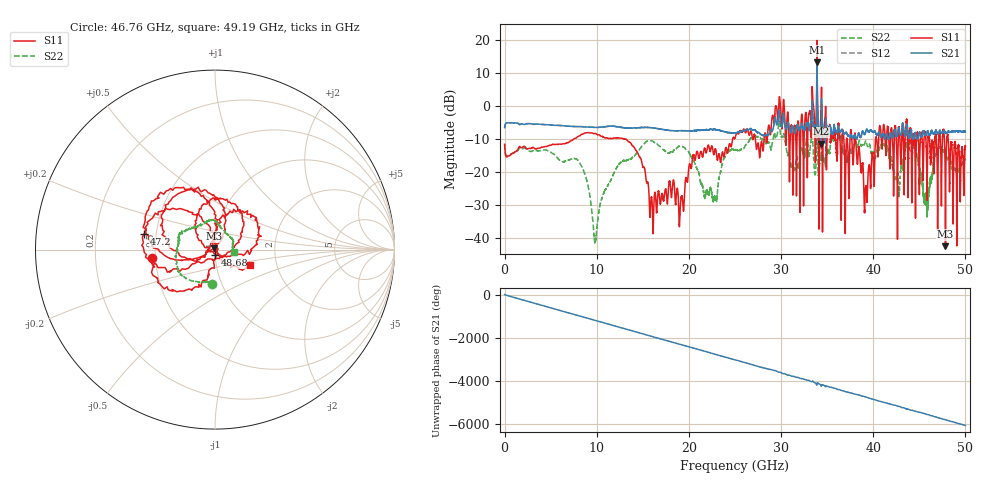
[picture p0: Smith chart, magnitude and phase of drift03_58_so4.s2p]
!Created with skrf (http://scikit-rf.org).
# Hz S RI R 50.0
!freq ReS11 ImS11 ReS21 ImS21 ReS12 ImS12 ReS22 ImS22
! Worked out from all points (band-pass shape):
!   10001 points, 300 kHz to 50 GHz, reference 50 ohm
!   highest |S21| = 13.32 dB at 33.9 GHz (marker M1); lowest = -11.4 dB at 34.32 GHz (marker M2)
!   |S21| within 3 dB of the highest: 33.89013 GHz to 33.90461 GHz (14.48 MHz wide, 0.0427 % of centre)
!   lowest |S11| = -42.5 dB at 47.84 GHz (marker M3), VSWR 1.02, Z = 49.6 + j0.628 ohm
!   |S11| at or under -10 dB: start of sweep to 7.487 GHz; 13.13 GHz to 24.74 GHz (11.62 GHz wide, 61.3 % of centre); 38.09 GHz to 40.25 GHz (2.162 GHz wide, 5.52 % of centre) (the widest 3 of 47)
!   |S22| runs from -41.4 to 5.8 dB; largest |S21 - S12| = 0.34
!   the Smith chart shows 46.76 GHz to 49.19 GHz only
!   S11 on the Smith chart (normalised r, x): 46.76 GHz: 0.48, -0.05; 47.2 GHz: 0.43, +0.09; 48.68 GHz: 1.00, -0.06; 49.19 GHz: 1.45, -0.27
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300000  -0.2331 -0.1242  0.4657 0.0802  0.4643 0.0804  -0.2349 -0.1256
1.440291e9  0.2101 0.0647  -0.5479 -0.0296  -0.548 -0.0294  0.2116 -0.00419
2.915283e9  -0.2123 -0.0878  0.5346 0.0512  0.5348 0.0516  -0.2021 0.0401
4.415274e9  0.2061 0.1326  -0.5218 -0.0422  -0.522 -0.0424  0.1987 -0.0874
8.33525e9  0.2885 -0.2335  0.146 0.4661  0.1457 0.4662  -0.0725 -0.1014
9.845241e9  -0.3638 0.1287  -0.1473 -0.4526  -0.148 -0.4525  0.00856 0.0019
1.66702e10  0.0271 0.043  -0.3781 0.2536  -0.3791 0.253  -0.1278 -0.22
2.500015e10  -0.3266 -0.0148  -0.2541 -0.2977  -0.2536 -0.299  -0.2119 0.0282
2.895513e10  -0.3258 0.4319  -0.2887 0.3254  -0.2987 0.29  0.0655 0.2219
3.006512e10  0.3991 0.2679  0.4508 -0.1959  0.4541 -0.1813  0.1754 -0.2966
3.171011e10  -0.0937 0.1892  -0.3605 0.3575  -0.3617 0.3542  0.0651 0.1594
3.33351e10  0.654 -0.8098  0.2646 -0.8504  0.2656 -0.8293  -0.1845 -0.4294
3.38951e10  -2.219 -9.648  -4.584 0.6888  -4.302 0.8725  0.4548 1.891
3.432009e10  -0.7792 -0.00128  -0.1803 0.1998  -0.2423 0.1783  0.1424 -0.0737
3.918506e10  0.0565 0.0145  0.2115 -0.3473  0.2183 -0.3419  -0.2686 -0.1298
4.167005e10  -0.2041 0.3028  0.3157 0.00374  0.3165 0.0121  -0.1979 -0.00909
4.675502e10  -0.3521 -0.0463  -0.0917 0.4094  -0.0933 0.4121  -0.0182 -0.1894
4.720002e10  -0.3941 0.088  0.2779 0.3186  0.2782 0.3145  -0.2004 -0.1243
4.784001e10  -0.0041 0.00633  0.3567 -0.1711  0.3573 -0.1695  -0.164 0.1116
4.867501e10  0.000588 -0.0303  -0.2619 -0.3328  -0.2634 -0.3289  0.0768 0.0769
4.919e10  0.1939 -0.0879  -0.4001 0.0832  -0.4021 0.0817  0.1052 -0.0154
5e10  -0.1184 -0.2185  0.1439 0.3845  0.1417 0.3829  -0.0516 -0.1428
